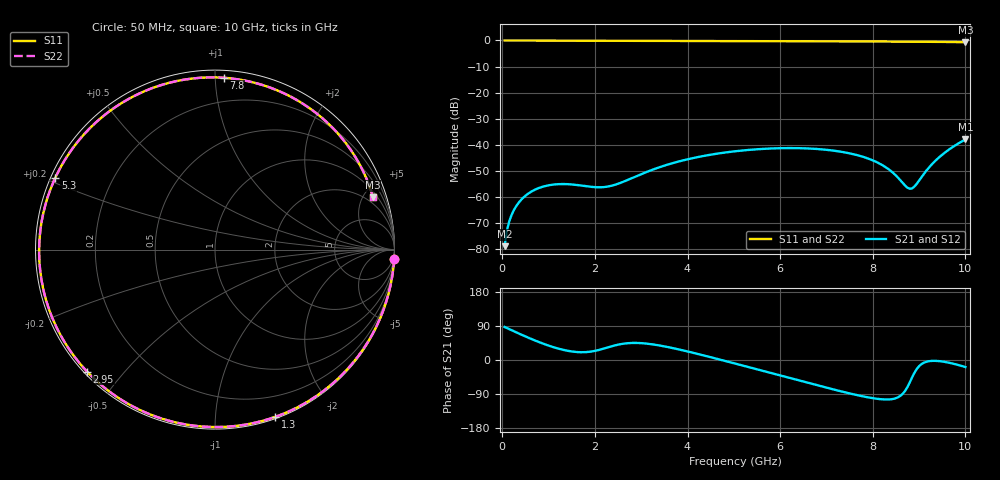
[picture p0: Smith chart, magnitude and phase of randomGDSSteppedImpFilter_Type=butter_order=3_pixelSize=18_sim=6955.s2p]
! freq	dB(S11)	phase(S11)	dB(S12)	phase(S12)
!  dB(S21)	phase(S21)	dB(S22)	phase(S22)
!S-par simulation data
#  GHz  S  DB  R 50
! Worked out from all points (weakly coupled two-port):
!   200 points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, 50 MHz to 10 GHz, reference 50 ohm
!   highest |S21| = -37.92 dB at 10 GHz (marker M1); lowest = -78.8 dB at 50 MHz (marker M2)
!   lowest |S11| = -0.7 dB at 10 GHz (marker M3), VSWR 26.50, Z = 70.2 + j293 ohm
!   |S11| at or under -10 dB: nowhere
!   |S22| runs from -0.7 to 0.0 dB; largest |S21 - S12| = 0
!   S11 on the Smith chart (normalised r, x): 50 MHz: 0, -40; 1.3 GHz: 0.01, -1.42; 2.95 GHz: 0.01, -0.40; 5.3 GHz: 0.01, +0.21; 7.8 GHz: 0.04, +1.05; 10 GHz: 1.40, +5.86
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0.05  -0.00 -2.9  -78.80 87.1  -78.80 87.1  -0.00 -2.9
0.1  -0.01 -5.8  -72.80 84.3  -72.80 84.3  -0.01 -5.8
0.15  -0.01 -8.6  -69.31 81.4  -69.31 81.4  -0.01 -8.6
0.25  -0.02 -14.3  -64.98 75.8  -64.98 75.8  -0.02 -14.3
0.4  -0.03 -22.8  -61.17 67.5  -61.17 67.5  -0.03 -22.8
0.8  -0.06 -44.7  -56.46 46.9  -56.46 46.9  -0.06 -44.7
1.3  -0.08 -70.2  -55.00 27.2  -55.00 27.2  -0.08 -70.2
1.75  -0.10 -90.8  -55.69 20.5  -55.69 20.5  -0.10 -90.8
2.3  -0.12 -113.2  -55.89 34.0  -55.89 34.0  -0.12 -113.2
2.95  -0.13 -136.4  -51.58 44.8  -51.58 44.8  -0.13 -136.4
3.4  -0.14 -150.8  -48.53 38.2  -48.53 38.2  -0.14 -150.8
4.2  -0.17 -174.3  -44.75 16.6  -44.75 16.6  -0.17 -174.3
5.05  -0.20 162.4  -42.40 -10.1  -42.40 -10.1  -0.20 162.4
5.3  -0.21 155.8  -41.96 -18.2  -41.96 -18.2  -0.21 155.8
6  -0.25 137.2  -41.27 -40.9  -41.27 -40.9  -0.25 137.2
6.7  -0.29 118.3  -41.46 -63.6  -41.46 -63.6  -0.29 118.3
7.8  -0.37 87.2  -44.63 -96.3  -44.63 -96.3  -0.37 87.2
8.35  -0.42 70.8  -49.44 -104.1  -49.44 -104.1  -0.42 70.8
8.75  -0.46 58.5  -56.42 -71.1  -56.42 -71.1  -0.46 58.5
8.85  -0.47 55.3  -56.66 -45.6  -56.66 -45.6  -0.47 55.3
9.4  -0.55 37.9  -45.28 -2.6  -45.28 -2.6  -0.55 37.9
10  -0.66 18.4  -37.92 -18.5  -37.92 -18.5  -0.66 18.4
